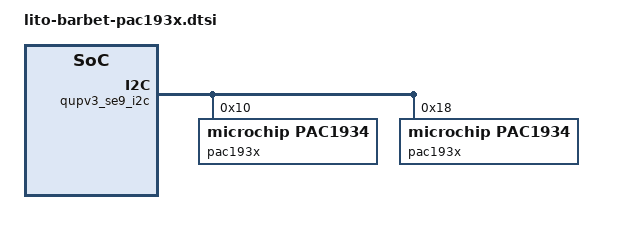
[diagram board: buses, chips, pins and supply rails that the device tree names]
// SPDX-License-Identifier: GPL-2.0
/* Copyright (c) 2018, The Linux Foundation. All rights reserved.
 *
 * This program is free software; you can redistribute it and/or modify
 * it under the terms of the GNU General Public License version 2 and
 * only version 2 as published by the Free Software Foundation.
 *
 * This program is distributed in the hope that it will be useful,
 * but WITHOUT ANY WARRANTY; without even the implied warranty of
 * MERCHANTABILITY or FITNESS FOR A PARTICULAR PURPOSE.  See the
 * GNU General Public License for more details.
 */
&qupv3_se9_i2c {
	status = "ok";
	qcom,clk-freq-out = <400000>;
	pac193x@10 {
		compatible = "microchip,pac1934";
		reg = <0x10>;
		samp-rate = <8>;
		status = "okay";
		ch1: channel@0 {
		     uohms-shunt-res = <10000>;
		     rail-name = "PM7250_L3";
		     subsys-name = "Cellular";
		     channel_enabled;
		};
		ch2: channel@1 {
		     uohms-shunt-res = <10000>;
		     rail-name = "PM7250_L8";
		     subsys-name = "Cellular";
		     channel_enabled;
		};
		ch3: channel@2 {
		     uohms-shunt-res = <10000>;
		     rail-name = "PM7250_L6";
		     subsys-name = "Cellular";
		     channel_enabled;
		};
		ch4: channel@3 {
		     uohms-shunt-res = <10000>;
		     rail-name = "PM7250_L7";
		     subsys-name = "Cellular";
		     channel_enabled;
		};
	};

	pac193x@18 {
		compatible = "microchip,pac1934";
		reg = <0x18>;
		samp-rate = <8>;
		status = "okay";
		ch5: channel@0 {
		     uohms-shunt-res = <10000>;
		     rail-name = "VPH_PWR_AMOLED";
		     subsys-name = "Display";
		     channel_enabled;
		};
		ch6: channel@1 {
		     uohms-shunt-res = <10000>;
		     rail-name = "VPH_PWR_PM7250_S7_S8";
		     subsys-name = "Cellular";
		     channel_enabled;
		};
		ch7: channel@2 {
		     uohms-shunt-res = <10000>;
		     rail-name = "VPH_PWR_RF";
		     subsys-name = "Cellular";
		     channel_enabled;
		};
		ch8: channel@3 {
		     rail-name = "NC";
		};
	};
};
